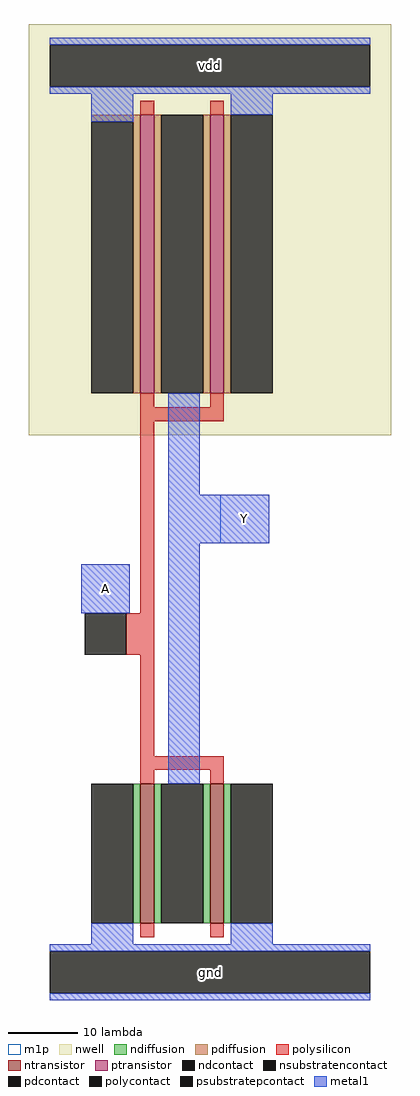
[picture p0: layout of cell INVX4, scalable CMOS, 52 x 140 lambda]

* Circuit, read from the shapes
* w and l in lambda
.subckt INVX4 A Y vdd gnd
M1 Y A gnd gnd nfet w=20 l=2 m=2
M2 Y A vdd vdd pfet w=40 l=2 m=2
.ends

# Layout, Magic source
magic
tech scmos
magscale 1 2
<< nwell >>
rect -12 154 92 272
<< ntransistor >>
rect 20 14 24 54
rect 40 14 44 54
<< ptransistor >>
rect 20 166 24 246
rect 40 166 44 246
<< ndiffusion >>
rect 18 14 20 54
rect 24 14 26 54
rect 38 14 40 54
rect 44 14 46 54
<< pdiffusion >>
rect 6 244 20 246
rect 18 166 20 244
rect 24 166 26 246
rect 38 166 40 246
rect 44 166 46 246
<< ndcontact >>
rect 6 14 18 54
rect 26 14 38 54
rect 46 14 58 54
<< pdcontact >>
rect 6 166 18 244
rect 26 166 38 246
rect 46 166 58 246
<< psubstratepcontact >>
rect -6 -6 86 6
<< nsubstratencontact >>
rect -6 254 86 266
<< polysilicon >>
rect 20 246 24 250
rect 40 246 44 250
rect 20 162 24 166
rect 40 162 44 166
rect 20 158 44 162
rect 20 103 24 158
rect 16 91 24 103
rect 20 62 24 91
rect 20 58 44 62
rect 20 54 24 58
rect 40 54 44 58
rect 20 10 24 14
rect 40 10 44 14
<< polycontact >>
rect 4 91 16 103
<< metal1 >>
rect -6 266 86 268
rect -6 252 86 254
rect 6 244 18 252
rect 46 246 58 252
rect 28 137 37 166
rect 28 123 57 137
rect 3 103 17 117
rect 28 54 37 123
rect 6 8 18 14
rect 46 8 58 14
rect -6 6 86 8
rect -6 -8 86 -6
<< m1p >>
rect 43 123 57 137
rect 3 103 17 117
<< labels >>
rlabel metal1 3 103 17 117 0 A
port 0 nsew signal input
rlabel metal1 -6 252 86 268 0 vdd
port 2 nsew power bidirectional abutment
rlabel metal1 -6 -8 86 8 0 gnd
port 3 nsew ground bidirectional abutment
rlabel metal1 43 123 57 137 0 Y
port 1 nsew signal output
<< properties >>
string FIXED_BBOX 0 0 80 260
string LEFclass CORE
string LEFsite core
string LEFsymmetry X Y
<< end >>
